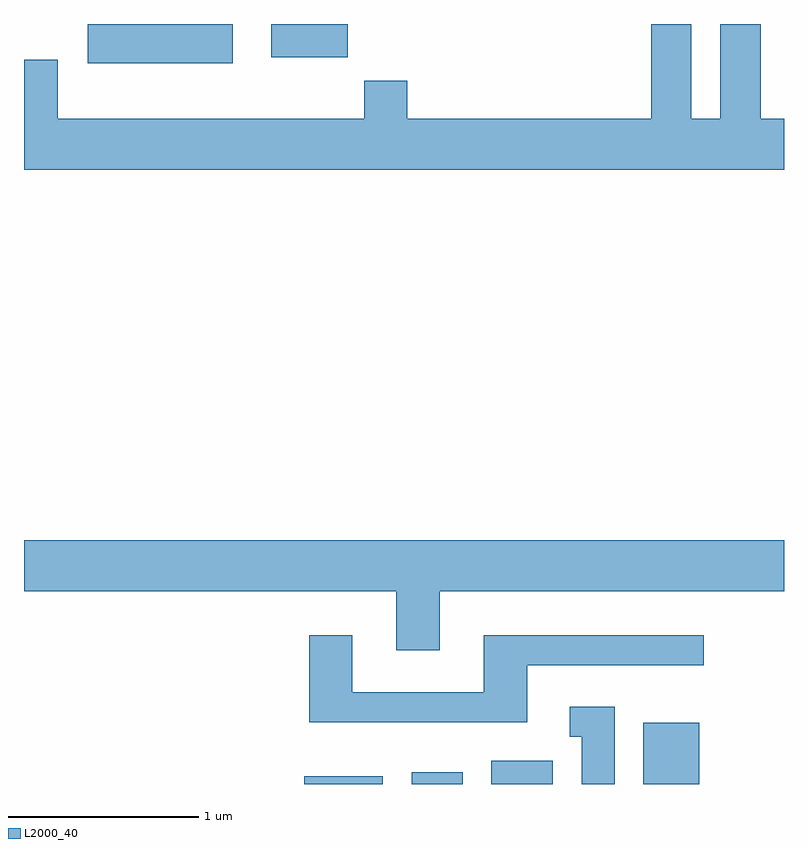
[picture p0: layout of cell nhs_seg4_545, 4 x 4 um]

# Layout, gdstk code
import gdstk
lib = gdstk.Library(unit=1e-6, precision=1e-09)
def R(c, l, rs):  # rectangles x0, y0, x1, y1
    for r in rs: c.add(gdstk.rectangle(r[:2], r[2:], *l))
def P(c, l, *ps):  # polygons
    for p in ps: c.add(gdstk.Polygon(p, *l))
L2000_40 = (2000, 40)

nhs_seg4_545 = lib.new_cell('nhs_seg4_545')
R(nhs_seg4_545, L2000_40, [(203.086,1255.982,203.499,1256.024), (203.651,1255.982,203.919,1256.044), (204.071,1255.982,204.394,1256.104), (204.871,1255.982,205.164,1256.304), (201.946,1259.776,202.709,1259.982), (202.911,1259.806,203.314,1259.982)])
P(nhs_seg4_545, L2000_40, [(205.611,1259.484),(205.489,1259.484),(205.489,1259.982),(205.276,1259.982),(205.276,1259.484),(205.124,1259.484),(205.124,1259.982),(204.911,1259.982),(204.911,1259.484),(203.629,1259.484),(203.629,1259.684),(203.401,1259.684),(203.401,1259.484),(201.789,1259.484),(201.789,1259.794),(201.611,1259.794),(201.611,1259.216),(205.611,1259.216)],
  [(203.799,1256.996),(205.611,1256.996),(205.611,1257.264),(201.611,1257.264),(201.611,1256.996),(203.571,1256.996),(203.571,1256.686),(203.799,1256.686)],
  [(204.259,1256.606),(205.188,1256.606),(205.188,1256.764),(204.031,1256.764),(204.031,1256.464),(203.339,1256.464),(203.339,1256.764),(203.111,1256.764),(203.111,1256.306),(204.259,1256.306)],
  [(204.719,1256.389),(204.483,1256.389),(204.483,1256.231),(204.546,1256.231),(204.546,1255.982),(204.719,1255.982)])

lib.write_gds('nhs_seg4_545.gds')
